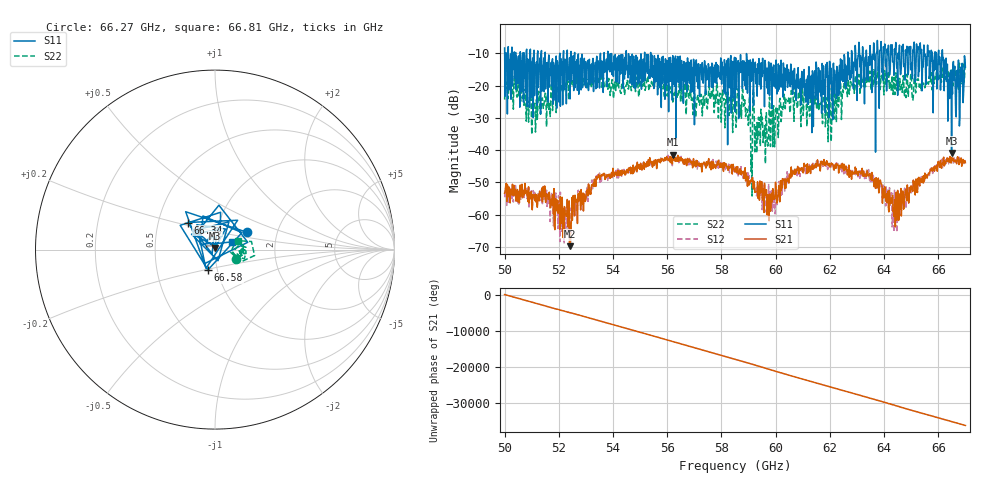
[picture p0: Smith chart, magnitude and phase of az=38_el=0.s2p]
!Created with skrf (http://scikit-rf.org).
# GHz S RI R 50.0
!freq ReS11 ImS11 ReS21 ImS21 ReS12 ImS12 ReS22 ImS22
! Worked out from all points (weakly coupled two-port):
!   1001 points, 50 GHz to 67 GHz, reference 50 ohm
!   highest |S21| = -41.42 dB at 56.2 GHz (marker M1); lowest = -69.8 dB at 52.4 GHz (marker M2)
!   lowest |S11| = -40.9 dB at 66.49 GHz (marker M3), VSWR 1.02, Z = 50.1 + j0.895 ohm
!   |S11| at or under -10 dB: 52.58 GHz to 53.54 GHz (951.5 MHz wide, 1.79 % of centre); 55.39 GHz to 62.66 GHz (7.274 GHz wide, 12.3 % of centre); 66.16 GHz to end of sweep (the widest 3 of 62)
!   |S22| runs from -54.3 to -13.0 dB; largest |S21 - S12| = 0.0021
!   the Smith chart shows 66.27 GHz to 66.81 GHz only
!   S11 on the Smith chart (normalised r, x): 66.27 GHz: 1.39, +0.28; 66.34 GHz: 0.71, +0.22; 66.58 GHz: 0.90, -0.21; 66.81 GHz: 1.20, +0.10
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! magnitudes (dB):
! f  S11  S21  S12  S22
! 50 GHz  -8.3  -53.4  -52.9  -24.3
! 51.07 GHz  -10.1  -54.8  -53.9  -26.2
! 52.4 GHz  -11.4  -69.8  -59.9  -16.5
! 52.84 GHz  -12.4  -54.9  -56.3  -19.4
! 55.68 GHz  -13.4  -42.9  -43.6  -21.0
! 56.2 GHz  -10.7  -41.4  -42.8  -25.1
! 58.5 GHz  -28.0  -46.9  -45.3  -23.8
! 58.84 GHz  -12.4  -48.6  -46.4  -25.4
! 59.16 GHz  -11.7  -50.0  -50.1  -22.5
! 59.77 GHz  -23.1  -53.7  -53.0  -23.6
! 60.39 GHz  -17.5  -49.3  -48.8  -24.2
! 61.34 GHz  -34.6  -45.0  -44.3  -27.3
! 62 GHz  -12.6  -45.3  -45.0  -23.7
! 62.6 GHz  -20.8  -45.0  -46.2  -19.7
! 64.18 GHz  -12.1  -59.2  -57.6  -16.9
! 64.45 GHz  -12.2  -53.1  -55.4  -17.2
! 66.27 GHz  -13.9  -44.3  -43.0  -18.0
! 66.34 GHz  -13.4  -43.5  -42.4  -17.3
! 66.49 GHz  -40.9  -42.4  -43.1  -15.2
! 66.58 GHz  -18.4  -43.5  -42.4  -15.9
! 66.81 GHz  -19.8  -43.0  -44.3  -17.1
! 67 GHz  -14.3  -43.9  -43.4  -14.6
